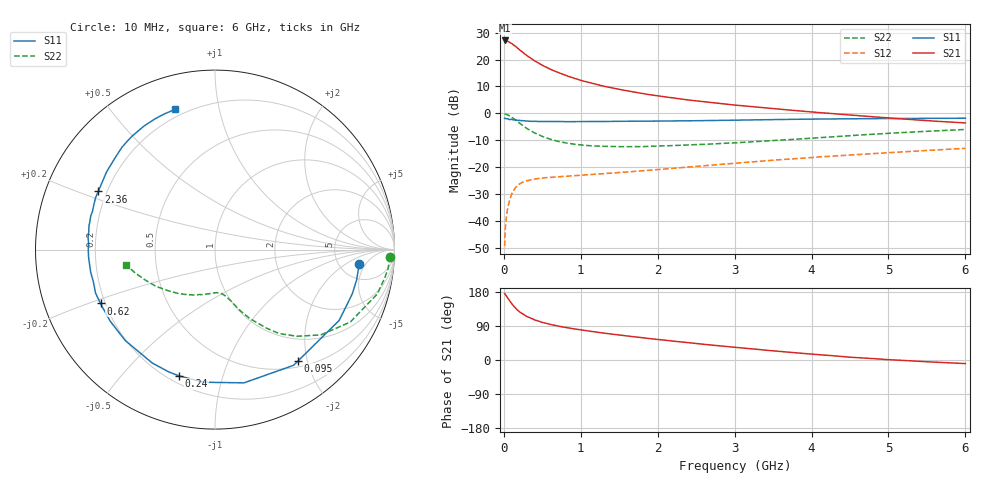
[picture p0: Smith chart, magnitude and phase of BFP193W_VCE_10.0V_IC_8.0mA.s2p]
! Infineon Technologies  Discrete & RF Semiconductors
! BFP193W
! VCE = 10.0V,  IC =  8.0 mA
! Common Emitter S-Parameters:  Jan 2016
# GHz  S  MA  R  50
!  f  S11  S21  S12  S22
! GHz  MAG  ANG  MAG  ANG  MAG  ANG  MAG  ANG
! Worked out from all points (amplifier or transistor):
!   210 points, 10 MHz to 6 GHz, reference 50 ohm
!   highest |S21| = 27.1 dB at 10 MHz (marker M1)
!   |S21| within 3 dB of that: start of sweep to 184.7 MHz
!   unconditionally stable (mu >= 1): 1.501 GHz to 4.714 GHz
!   at 185 MHz: K = 0.18, MSG = 25.4 dB, |S12| = -26.7 dB
!   at 1.52 GHz: K = 1.00, MAG = 15.0 dB, |S12| = -21.9 dB
!   at 6 GHz: K = 0.92, MSG = 4.7 dB, |S12| = -13.0 dB
!   S11 on the Smith chart (normalised r, x): 10 MHz: 7.72, -3.56; 95 MHz: 0.60, -1.84; 240 MHz: 0.24, -0.73; 620 MHz: 0.18, -0.22; 2.36 GHz: 0.17, +0.23; 6 GHz: 0.16, +0.74
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0.01  0.8075 -5.7  22.65 175.5  0.0034 80.7  0.9765 -2.3
0.02  0.8072 -11.9  22.62 173.1  0.0074 79.1  0.9698 -6.3
0.03  0.8036 -17.9  22.52 169.9  0.0105 79.3  0.9596 -9.3
0.05  0.7964 -29.7  21.97 163.4  0.0173 74.6  0.9373 -15.3
0.095  0.7737 -53.2  20.14 150.6  0.0297 63.4  0.8616 -26.7
0.1  0.7793 -55.8  20 149.0  0.0311 62.7  0.8555 -28.1
0.15  0.7598 -77.7  17.68 136.8  0.0415 52.9  0.7571 -38.9
0.2  0.7419 -95.1  15.37 127.7  0.0482 46.0  0.6644 -46.6
0.24  0.7313 -105.8  13.85 122.1  0.0521 41.9  0.6037 -51.3
0.3  0.7221 -119.0  11.83 114.6  0.0559 37.5  0.5221 -56.8
0.4  0.7118 -134.6  9.468 105.7  0.0603 32.7  0.4321 -63.1
0.5  0.707 -145.5  7.825 99.2  0.0629 30.3  0.3727 -67.2
0.62  0.7049 -154.8  6.47 93.2  0.0651 29.1  0.3254 -70.7
0.8  0.701 -165.2  5.092 85.9  0.068 28.9  0.2829 -74.6
1.02  0.7037 -173.9  4.035 78.9  0.0713 30.0  0.2572 -79.0
1.4  0.7109 174.4  2.982 68.4  0.0776 33.1  0.2421 -85.8
2.02  0.719 160.0  2.097 53.8  0.0907 38.0  0.2478 -97.1
2.36  0.7267 153.5  1.804 46.5  0.0994 40.0  0.2583 -104.0
3.1  0.7497 140.2  1.384 31.8  0.1214 42.1  0.2885 -119.3
4.1  0.7843 124.9  1.034 14.0  0.1547 41.0  0.353 -140.4
5.1  0.8024 113.7  0.802 -0.1  0.1894 37.6  0.4336 -158.4
6  0.8122 106.0  0.664 -9.4  0.2238 34.0  0.5021 -170.3
